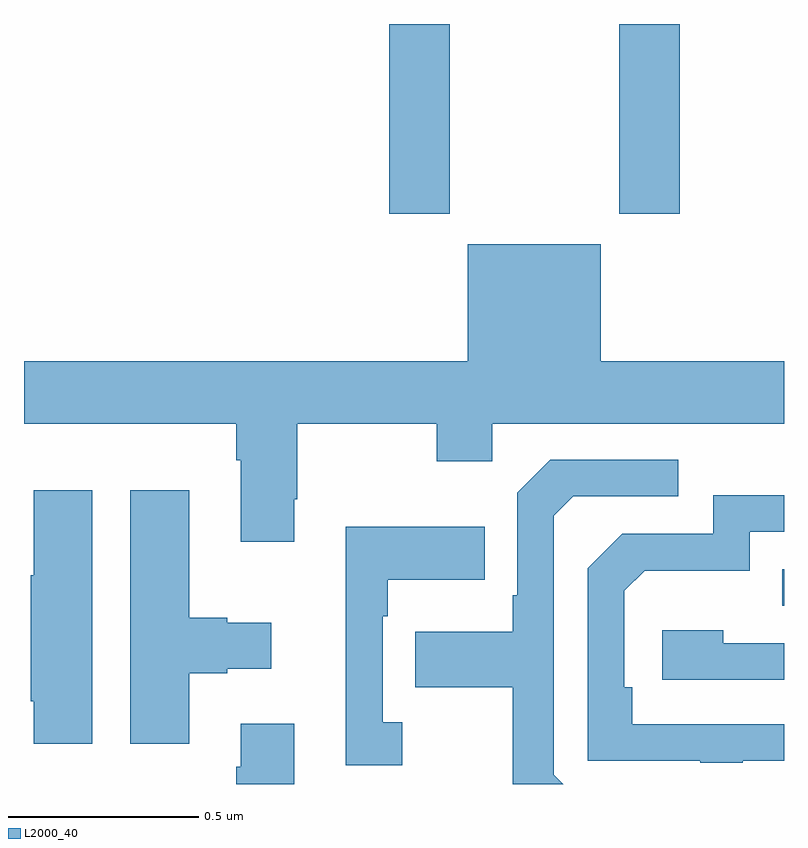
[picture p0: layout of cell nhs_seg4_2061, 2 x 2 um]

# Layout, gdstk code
import gdstk
lib = gdstk.Library(unit=1e-6, precision=1e-09)
def R(c, l, rs):  # rectangles x0, y0, x1, y1
    for r in rs: c.add(gdstk.rectangle(r[:2], r[2:], *l))
def P(c, l, *ps):  # polygons
    for p in ps: c.add(gdstk.Polygon(p, *l))
L2000_40 = (2000, 40)

nhs_seg4_2061 = lib.new_cell('nhs_seg4_2061')
R(nhs_seg4_2061, L2000_40, [(137.995,768.369,138,768.465), (136.961,769.401,137.121,769.9), (137.566,769.401,137.726,769.9)])
P(nhs_seg4_2061, L2000_40, [(136.711,768.649),(136.719,768.649),(136.719,768.848),(137.086,768.848),(137.086,768.749),(137.232,768.749),(137.232,768.848),(138,768.848),(138,769.012),(137.518,769.012),(137.518,769.321),(137.168,769.321),(137.168,769.012),(136,769.012),(136,768.848),(136.559,768.848),(136.559,768.752),(136.571,768.752),(136.571,768.537),(136.711,768.537)],
  [(137.394,767.925),(137.394,768.606),(137.445,768.657),(137.722,768.657),(137.722,768.753),(137.385,768.753),(137.298,768.666),(137.298,768.397),(137.286,768.397),(137.286,768.301),(137.029,768.301),(137.029,768.154),(137.286,768.154),(137.286,767.9),(137.419,767.9)],
  [(136.18,768.673),(136.025,768.673),(136.025,768.449),(136.018,768.449),(136.018,768.118),(136.025,768.118),(136.025,768.006),(136.18,768.006)],
  [(136.435,768.191),(136.535,768.191),(136.535,768.203),(136.651,768.203),(136.651,768.325),(136.535,768.325),(136.535,768.338),(136.435,768.338),(136.435,768.673),(136.28,768.673),(136.28,768.006),(136.435,768.006)],
  [(137.891,767.961),(138,767.961),(138,768.057),(137.6,768.057),(137.6,768.154),(137.58,768.154),(137.58,768.408),(137.633,768.461),(137.91,768.461),(137.91,768.564),(138,768.564),(138,768.66),(137.814,768.66),(137.814,768.558),(137.574,768.558),(137.484,768.468),(137.484,767.961),(137.779,767.961),(137.779,767.956),(137.891,767.956)],
  [(136.996,768.062),(136.944,768.062),(136.944,768.341),(136.957,768.341),(136.957,768.437),(137.213,768.437),(137.213,768.577),(136.847,768.577),(136.847,767.949),(136.996,767.949)],
  [(138,768.27),(137.84,768.27),(137.84,768.304),(137.679,768.304),(137.679,768.174),(138,768.174)],
  [(136.711,768.058),(136.571,768.058),(136.571,767.945),(136.559,767.945),(136.559,767.9),(136.711,767.9)])

lib.write_gds('nhs_seg4_2061.gds')
